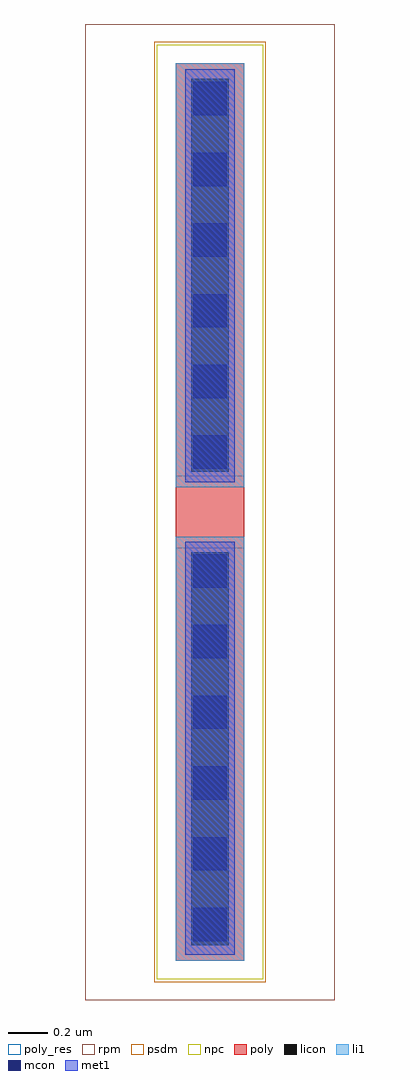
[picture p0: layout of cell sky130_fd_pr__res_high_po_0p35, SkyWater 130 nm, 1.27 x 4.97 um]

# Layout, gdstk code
import gdstk
lib = gdstk.Library(unit=1e-6, precision=1e-09)
def R(c, l, rs):  # rectangles x0, y0, x1, y1
    for r in rs: c.add(gdstk.rectangle(r[:2], r[2:], *l))
poly_res = (66, 13)
poly = (66, 20)
licon = (66, 44)
li1 = (67, 20)
mcon = (67, 44)
met1 = (68, 20)
rpm = (86, 20)
psdm = (94, 20)
npc = (95, 20)

compass_228b4d7c = lib.new_cell('compass_228b4d7c')
R(compass_228b4d7c, poly_res, [(-0.175,-0.185,0.175,0.185)])

rectangle_77c25a59 = lib.new_cell('rectangle_77c25a59')
rectangle_77c25a59.add(gdstk.Reference(compass_228b4d7c, (0,0)))

compass_0719251e = lib.new_cell('compass_0719251e')
R(compass_0719251e, poly, [(-0.175,-2.285,0.175,2.285)])

rectangle_c9a24f87 = lib.new_cell('rectangle_c9a24f87')
rectangle_c9a24f87.add(gdstk.Reference(compass_0719251e, (0,0)))

compass_2285dfe4 = lib.new_cell('compass_2285dfe4')
R(compass_2285dfe4, psdm, [(-0.285,-2.395,0.285,2.395)])

rectangle_fa8ca543 = lib.new_cell('rectangle_fa8ca543')
rectangle_fa8ca543.add(gdstk.Reference(compass_2285dfe4, (0,0)))

compass_f3721112 = lib.new_cell('compass_f3721112')
R(compass_f3721112, npc, [(-0.27,-2.38,0.27,2.38)])

rectangle_a951b617 = lib.new_cell('rectangle_a951b617')
rectangle_a951b617.add(gdstk.Reference(compass_f3721112, (0,0)))

compass_87c33919 = lib.new_cell('compass_87c33919')
R(compass_87c33919, rpm, [(-0.635,-2.485,0.635,2.485)])

rectangle_781f637e = lib.new_cell('rectangle_781f637e')
rectangle_781f637e.add(gdstk.Reference(compass_87c33919, (0,0)))

compass_002c6558 = lib.new_cell('compass_002c6558')
R(compass_002c6558, licon, [(-0.095,-1,0.095,1)])

rectangle_e30096d1 = lib.new_cell('rectangle_e30096d1')
rectangle_e30096d1.add(gdstk.Reference(compass_002c6558, (0,0)))

compass_1e8aabd3 = lib.new_cell('compass_1e8aabd3')
R(compass_1e8aabd3, li1, [(-0.175,-1.08,0.175,1.08)])

rectangle_0f73846a = lib.new_cell('rectangle_0f73846a')
rectangle_0f73846a.add(gdstk.Reference(compass_1e8aabd3, (0,0)))

compass_27f24e28 = lib.new_cell('compass_27f24e28')
R(compass_27f24e28, met1, [(-0.125,-1.052,0.125,1.052)])

rectangle_8b5c057a = lib.new_cell('rectangle_8b5c057a')
rectangle_8b5c057a.add(gdstk.Reference(compass_27f24e28, (0,0)))

compass_3c2dbaf2 = lib.new_cell('compass_3c2dbaf2')
R(compass_3c2dbaf2, mcon, [(-0.085,-0.085,0.085,0.085)])

rectangle_6fc50469 = lib.new_cell('rectangle_6fc50469')
rectangle_6fc50469.add(gdstk.Reference(compass_3c2dbaf2, (0,0)))

sky130_fd_pr__res_high_p = lib.new_cell('sky130_fd_pr__res_high_po_0p35')
sky130_fd_pr__res_high_p.add(gdstk.Reference(rectangle_77c25a59, (0,0)))
sky130_fd_pr__res_high_p.add(gdstk.Reference(rectangle_c9a24f87, (0,0)))
sky130_fd_pr__res_high_p.add(gdstk.Reference(rectangle_fa8ca543, (0,0)))
sky130_fd_pr__res_high_p.add(gdstk.Reference(rectangle_a951b617, (0,0)))
sky130_fd_pr__res_high_p.add(gdstk.Reference(rectangle_781f637e, (0,0)))
r = gdstk.Reference(rectangle_e30096d1, (0,1.205)); r.repetition = gdstk.Repetition(1, 1, v1=(0.71,0), v2=(0,0.71)); sky130_fd_pr__res_high_p.add(r)
r = gdstk.Reference(rectangle_e30096d1, (0,-1.205)); r.repetition = gdstk.Repetition(1, 1, v1=(0.71,0), v2=(0,0.71)); sky130_fd_pr__res_high_p.add(r)
r = gdstk.Reference(rectangle_0f73846a, (0,1.205)); r.repetition = gdstk.Repetition(1, 1, v1=(0.35,0), v2=(0,0.35)); sky130_fd_pr__res_high_p.add(r)
r = gdstk.Reference(rectangle_0f73846a, (0,-1.205)); r.repetition = gdstk.Repetition(1, 1, v1=(0.35,0), v2=(0,0.35)); sky130_fd_pr__res_high_p.add(r)
r = gdstk.Reference(rectangle_8b5c057a, (0,1.203)); r.repetition = gdstk.Repetition(1, 1, v1=(0.25,0), v2=(0,0.25)); sky130_fd_pr__res_high_p.add(r)
r = gdstk.Reference(rectangle_8b5c057a, (0,-1.203)); r.repetition = gdstk.Repetition(1, 1, v1=(0.25,0), v2=(0,0.25)); sky130_fd_pr__res_high_p.add(r)
r = gdstk.Reference(rectangle_6fc50469, (0,0.305)); r.repetition = gdstk.Repetition(1, 6, v1=(0.36,0), v2=(0,0.36)); sky130_fd_pr__res_high_p.add(r)
r = gdstk.Reference(rectangle_6fc50469, (0,-2.1)); r.repetition = gdstk.Repetition(1, 6, v1=(0.36,0), v2=(0,0.36)); sky130_fd_pr__res_high_p.add(r)

lib.write_gds('sky130_fd_pr__res_high_po_0p35.gds')
